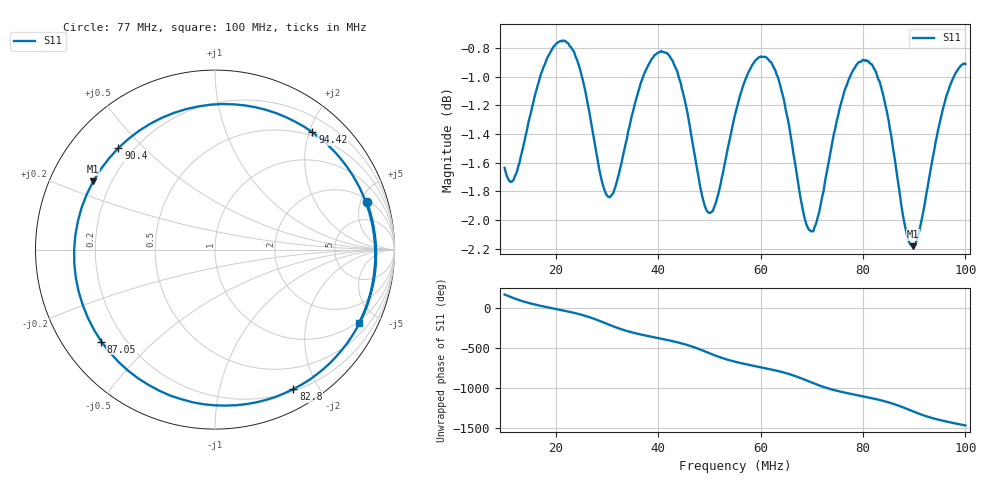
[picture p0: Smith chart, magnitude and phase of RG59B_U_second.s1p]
# HZ S RI R 50
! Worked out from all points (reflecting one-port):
!   404 points, 10 MHz to 100 MHz, reference 50 ohm
!   lowest |S11| = -2.2 dB at 89.73 MHz (marker M1), VSWR 8.01, Z = 6.67 + j12.9 ohm
!   phase of S11 starts at 175 deg and turns -1642 deg over the sweep
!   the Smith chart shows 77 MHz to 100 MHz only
!   S11 on the Smith chart (normalised r, x): 77 MHz: 2.31, +5.69; 82.8 MHz: 0.22, -1.69; 87.05 MHz: 0.11, -0.35; 90.4 MHz: 0.15, +0.42; 94.42 MHz: 0.44, +2.06; 100 MHz: 0.92, -3.96
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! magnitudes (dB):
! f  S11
! 10 MHz  -1.6
! 12.01 MHz  -1.7
! 17.37 MHz  -1.0
! 21.39 MHz  -0.7
! 24.74 MHz  -0.9
! 29.65 MHz  -1.8
! 32.56 MHz  -1.6
! 38.81 MHz  -0.9
! 43.95 MHz  -1.0
! 49.75 MHz  -1.9
! 51.54 MHz  -1.8
! 55.11 MHz  -1.3
! 58.01 MHz  -0.9
! 61.14 MHz  -0.9
! 63.82 MHz  -1.1
! 66.28 MHz  -1.5
! 68.51 MHz  -2.0
! 70.3 MHz  -2.1
! 77 MHz  -1.0
! 77.67 MHz  -1.0
! 82.8 MHz  -1.0
! 87.05 MHz  -1.8
! 88.83 MHz  -2.1
! 89.73 MHz  -2.2
! 90.4 MHz  -2.1
! 94.42 MHz  -1.4
! 97.32 MHz  -1.0
! 100 MHz  -0.9
